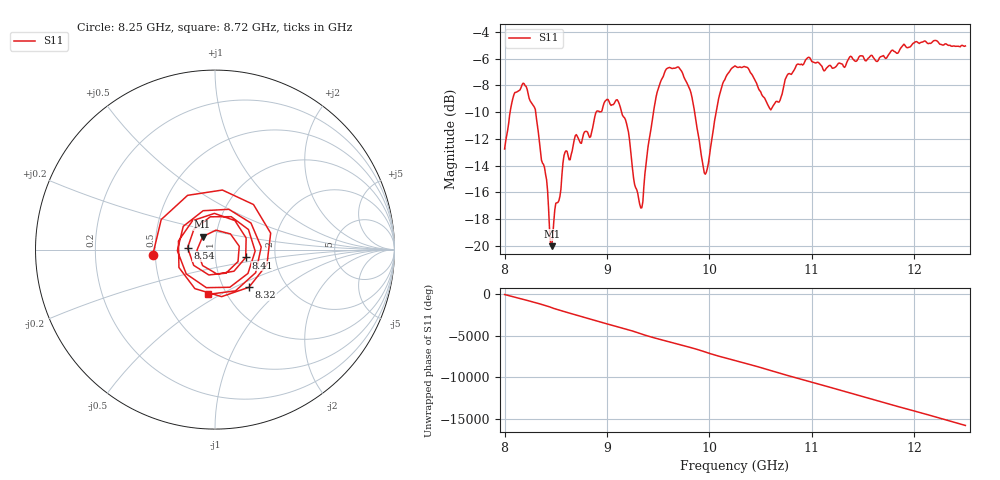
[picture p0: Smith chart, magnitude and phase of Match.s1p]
#  HZ  S  RI  R  50.00
! Rohde & Schwarz Vector Network Analyzer
! Rohde-Schwarz,ZNA43-4Port,1332450044101932,2.92
! Created: UTC 6/9/2026, 6:27:47 AM
! freq[Hz]  re:S11  im:S11
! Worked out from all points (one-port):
!   451 points, 8 GHz to 12.5 GHz, reference 50 ohm
!   lowest |S11| = -20.0 dB at 8.46 GHz (marker M1), VSWR 1.22, Z = 43.1 + j6.28 ohm
!   |S11| at or under -10 dB: 8.303 GHz to 8.895 GHz (591.8 MHz wide, 6.88 % of centre); 9.143 GHz to 9.454 GHz (310.8 MHz wide, 3.34 % of centre); 9.856 GHz to 10.07 GHz (210.6 MHz wide, 2.11 % of centre) (the widest 3 of 4)
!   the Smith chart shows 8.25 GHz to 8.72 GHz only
!   S11 on the Smith chart (normalised r, x): 8.25 GHz: 0.48, -0.03; 8.32 GHz: 1.31, -0.60; 8.41 GHz: 1.41, -0.13; 8.54 GHz: 0.73, +0.02; 8.72 GHz: 0.82, -0.44
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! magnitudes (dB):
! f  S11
! 8 GHz  -12.8
! 8.1 GHz  -8.5
! 8.19 GHz  -7.9
! 8.25 GHz  -9.2
! 8.32 GHz  -11.0
! 8.41 GHz  -15.1
! 8.46 GHz  -20.0
! 8.54 GHz  -16.3
! 8.57 GHz  -13.8
! 8.72 GHz  -12.0
! 8.84 GHz  -11.8
! 8.99 GHz  -9.1
! 9.13 GHz  -9.6
! 9.2 GHz  -11.2
! 9.26 GHz  -15.0
! 9.33 GHz  -17.2
! 9.5 GHz  -8.3
! 9.69 GHz  -6.6
! 9.82 GHz  -8.6
! 9.96 GHz  -14.6
! 10.11 GHz  -8.4
! 10.25 GHz  -6.6
! 10.38 GHz  -6.7
! 10.6 GHz  -9.8
! 10.82 GHz  -7.0
! 11.38 GHz  -5.8
! 11.94 GHz  -5.2
! 12.5 GHz  -5.1
